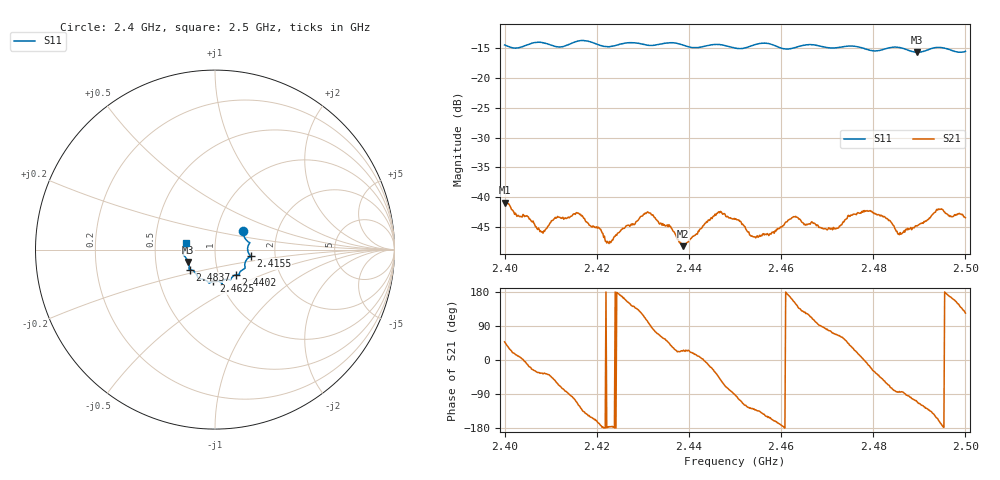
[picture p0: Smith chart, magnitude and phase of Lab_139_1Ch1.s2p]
# Hz S RI R 50
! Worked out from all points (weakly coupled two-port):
!   601 points, 2.4 GHz to 2.5 GHz, reference 50 ohm
!   highest |S21| = -40.94 dB at 2.4 GHz (marker M1); lowest = -48.2 dB at 2.4387 GHz (marker M2)
!   lowest |S11| = -15.7 dB at 2.4895 GHz (marker M3), VSWR 1.39, Z = 36.8 - j5.16 ohm
!   |S11| at or under -10 dB: start of sweep to end of sweep
!   S12 and S22 are empty: the file has one direction only
!   S11 on the Smith chart (normalised r, x): 2.4 GHz: 1.33, +0.29; 2.4155 GHz: 1.49, -0.11; 2.4402 GHz: 1.20, -0.35; 2.4625 GHz: 0.92, -0.34; 2.4837 GHz: 0.74, -0.17; 2.5 GHz: 0.72, +0.05
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2.4e9  0.1562 0.1058  0.00602 0.00666  0 0  0 0
2.408167e9  0.1939 0.0372  0.00422 -0.00291  0 0  0 0
2.4155e9  0.1981 -0.0356  -0.00247 -0.00697  0 0  0 0
2.416667e9  0.2016 -0.0399  -0.00438 -0.00543  0 0  0 0
2.4225e9  0.1686 -0.0691  -0.00416 -0.000291  0 0  0 0
2.430667e9  0.1497 -0.115  -0.00217 0.00697  0 0  0 0
2.433333e9  0.1354 -0.1336  0.00227 0.00585  0 0  0 0
2.438667e9  0.1259 -0.1401  0.00357 0.00155  0 0  0 0
2.440167e9  0.1142 -0.1404  0.00407 0.00165  0 0  0 0
2.4465e9  0.0847 -0.1705  0.00525 -0.00544  0 0  0 0
2.45e9  0.0642 -0.1656  -0.000233 -0.00653  0 0  0 0
2.4545e9  0.0375 -0.1866  -0.00302 -0.00342  0 0  0 0
2.4625e9  -0.00966 -0.1767  -0.00631 0.00248  0 0  0 0
2.466667e9  -0.033 -0.1866  -0.00227 0.0058  0 0  0 0
2.472e9  -0.0679 -0.1651  0.0021 0.00507  0 0  0 0
2.478667e9  -0.103 -0.1389  0.00763 -0.0012  0 0  0 0
2.483333e9  -0.1384 -0.112  0.0026 -0.00583  0 0  0 0
2.483667e9  -0.1402 -0.1116  0.00199 -0.00602  0 0  0 0
2.485833e9  -0.1447 -0.1056  0.000452 -0.00504  0 0  0 0
2.4895e9  -0.1484 -0.0682  -0.00196 -0.00539  0 0  0 0
2.494333e9  -0.1785 -0.0241  -0.0075 -0.00247  0 0  0 0
2.5e9  -0.1627 0.0365  -0.00375 0.00559  0 0  0 0
